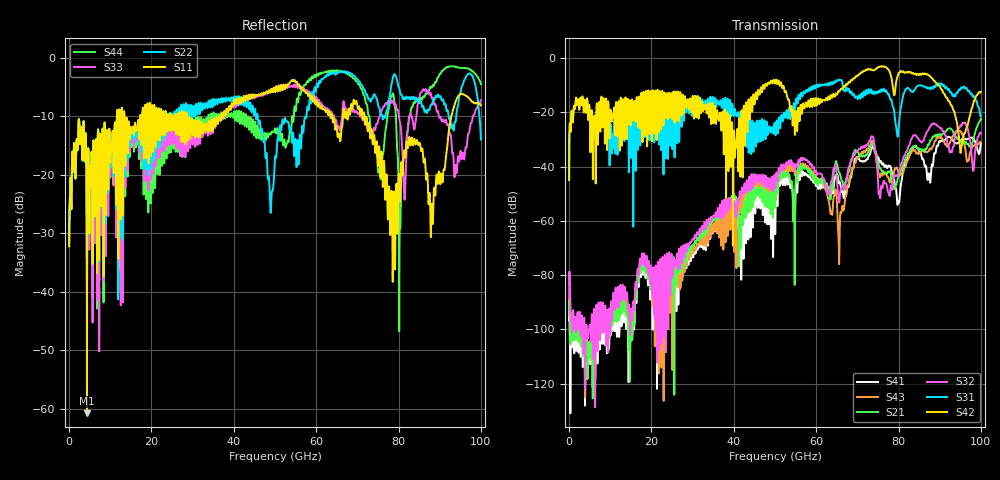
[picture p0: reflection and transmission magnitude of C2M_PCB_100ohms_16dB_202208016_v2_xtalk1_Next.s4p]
! Info: Touchstone file created by Circ.  Input file=Intel_C2M_200G_5p0in_202208016_staggered.circ
# Hz S RI R 50
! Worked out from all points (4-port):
!   10000 points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, 10 MHz to 100 GHz, reference 50 ohm
!   strongest paths, dB at 10 MHz, 25.01 GHz, 50.01 GHz, 75.01 GHz, 100 GHz:
!     S42: -44.9, -19.2, -9.3, -3.5, -12.5
!     S31: -45.0, -22.6, -25.6, -12.6, -21.4
!     S32: -88.3, -78.5, -47.4, -44.9, -27.7
!     S21: -92.2, -82.9, -55.2, -38.1, -22.4
!     S43: -92.0, -83.9, -48.7, -41.4, -31.0
!     S41: -93.6, -78.4, -60.4, -36.5, -31.4
!   lowest |S11| = -60.7 dB at 4.35 GHz (marker M1), VSWR 1.00, Z = 49.9 + j0.0101 ohm
!   |S11| at or under -10 dB: start of sweep to 11.62 GHz; 28.61 GHz to 36.95 GHz (8.332 GHz wide, 25.4 % of centre); 71.76 GHz to 92.82 GHz (21.07 GHz wide, 25.6 % of centre)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
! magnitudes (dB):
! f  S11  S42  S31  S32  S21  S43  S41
! 10 MHz  -32.2  -44.9  -45.0  -88.3  -92.2  -92.0  -93.6
! 4.35 GHz  -60.7  -14.8  -16.0  -100.7  -106.2  -107.7  -111.7
! 40.19 GHz  -7.1  -31.3  -18.6  -58.0  -51.2  -70.0  -53.9
! 73.5 GHz  -12.5  -4.4  -12.5  -28.8  -31.8  -30.4  -33.2
! 76.12 GHz  -21.0  -3.1  -12.2  -47.8  -41.7  -43.2  -39.1
! 95.2 GHz  -6.2  -33.5  -10.9  -24.9  -30.5  -27.3  -30.2
! 100 GHz  -8.1  -12.5  -21.4  -27.7  -22.4  -31.0  -31.4
